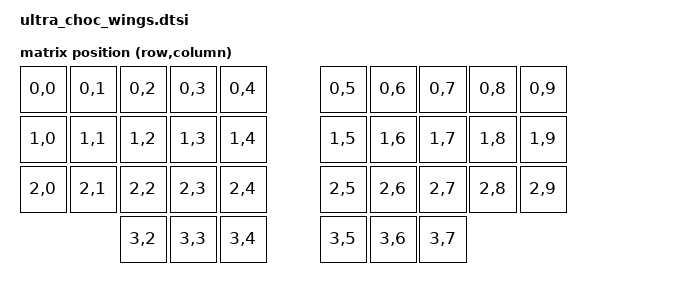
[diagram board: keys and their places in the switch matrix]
/*
 * Shared by the dongle and both halves: the 36-key layout and matrix transform.
 *
 * Matrix (same on both halves, see config.yaml):
 *   rows: top = D8, home = D9, bottom = D10, thumbs = D4
 *   cols: pinky = D5, ring = D3, middle = D2, index = D1, inner = D0
 *   thumbs: inner thumb = D2, middle thumb = D1, home thumb = D0
 */

#include <dt-bindings/zmk/matrix_transform.h>
#include <layouts/foostan/corne/5column.dtsi>

&foostan_corne_5col_layout {
    transform = <&default_transform>;
};

/ {
    chosen {
        zmk,physical-layout = &foostan_corne_5col_layout;
    };

    default_transform: keymap_transform_0 {
        compatible = "zmk,matrix-transform";
        columns = <10>;
        rows = <4>;
        map = <
RC(0,0) RC(0,1) RC(0,2) RC(0,3) RC(0,4)    RC(0,5) RC(0,6) RC(0,7) RC(0,8) RC(0,9)
RC(1,0) RC(1,1) RC(1,2) RC(1,3) RC(1,4)    RC(1,5) RC(1,6) RC(1,7) RC(1,8) RC(1,9)
RC(2,0) RC(2,1) RC(2,2) RC(2,3) RC(2,4)    RC(2,5) RC(2,6) RC(2,7) RC(2,8) RC(2,9)
                RC(3,2) RC(3,3) RC(3,4)    RC(3,5) RC(3,6) RC(3,7)
        >;
    };
};
